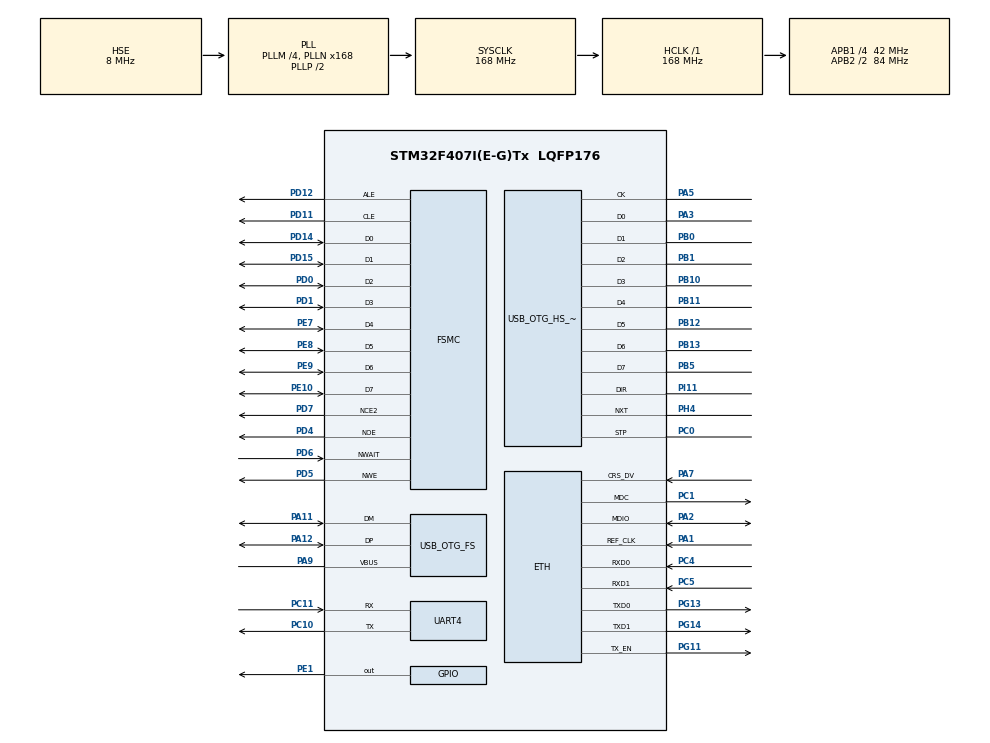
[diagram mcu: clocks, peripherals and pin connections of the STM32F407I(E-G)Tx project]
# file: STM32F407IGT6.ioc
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ETH.MediaInterface=ETH_MEDIA_INTERFACE_RMII
LWIP.GATEWAY_ADDRESS=192.168.001.004
LWIP.IP_ADDRESS=192.168.001.014
LWIP.LWIP_DHCP=1
LWIP.LWIP_DNS=1
LWIP.LWIP_ICMP=1
LWIP.LWIP_TCP=1
LWIP.MEMP_NUM_TCP_PCB=4
LWIP.MEMP_NUM_UDP_PCB=4
LWIP.NETMASK_ADDRESS=255.255.255.000
LWIP.Version=v2.0.3_Cube
Mcu.Family=STM32F4
Mcu.Name=STM32F407I(E-G)Tx
Mcu.Package=LQFP176
NVIC.OTG_FS_IRQn=true\:0\:0\:false\:false\:true\:false\:true
NVIC.OTG_HS_IRQn=true\:0\:0\:false\:false\:true\:false\:true
NVIC.PriorityGroup=NVIC_PRIORITYGROUP_4
PA1.Mode=RMII
PA1.Signal=ETH_REF_CLK
PA11.Mode=Device_Only
PA11.Signal=USB_OTG_FS_DM
PA12.Mode=Device_Only
PA12.Signal=USB_OTG_FS_DP
PA13.Mode=JTAG_4_pins
PA13.Signal=SYS_JTMS-SWDIO
PA14.Mode=JTAG_4_pins
PA14.Signal=SYS_JTCK-SWCLK
PA15.Mode=JTAG_4_pins
PA15.Signal=SYS_JTDI
PA2.Mode=RMII
PA2.Signal=ETH_MDIO
PA3.Mode=Host_HS
PA3.Signal=USB_OTG_HS_ULPI_D0
PA5.Mode=Host_HS
PA5.Signal=USB_OTG_HS_ULPI_CK
PA7.Mode=RMII
PA7.Signal=ETH_CRS_DV
PA9.Mode=Activate_VBUS
PA9.Signal=USB_OTG_FS_VBUS
PB0.Mode=Host_HS
PB0.Signal=USB_OTG_HS_ULPI_D1
PB1.Mode=Host_HS
PB1.Signal=USB_OTG_HS_ULPI_D2
PB10.Mode=Host_HS
PB10.Signal=USB_OTG_HS_ULPI_D3
PB11.Mode=Host_HS
PB11.Signal=USB_OTG_HS_ULPI_D4
PB12.Mode=Host_HS
PB12.Signal=USB_OTG_HS_ULPI_D5
PB13.Mode=Host_HS
PB13.Signal=USB_OTG_HS_ULPI_D6
PB3.Mode=JTAG_4_pins
PB3.Signal=SYS_JTDO-SWO
PB5.Mode=Host_HS
PB5.Signal=USB_OTG_HS_ULPI_D7
PC0.Mode=Host_HS
PC0.Signal=USB_OTG_HS_ULPI_STP
PC1.Mode=RMII
PC1.Signal=ETH_MDC
PC10.Mode=Asynchronous
PC10.Signal=UART4_TX
PC11.Mode=Asynchronous
PC11.Signal=UART4_RX
PC14-OSC32_IN.Mode=LSE-External-Oscillator
PC14-OSC32_IN.Signal=RCC_OSC32_IN
PC15-OSC32_OUT.Mode=LSE-External-Oscillator
PC15-OSC32_OUT.Signal=RCC_OSC32_OUT
PC4.Mode=RMII
PC4.Signal=ETH_RXD0
PC5.Mode=RMII
PC5.Signal=ETH_RXD1
PD0.Signal=FSMC_D2_DA2
PD1.Signal=FSMC_D3_DA3
PD11.Signal=FSMC_A16_CLE
PD12.Signal=FSMC_A17_ALE
PD14.Signal=FSMC_D0_DA0
PD15.Signal=FSMC_D1_DA1
PD4.Signal=FSMC_NOE
PD5.Signal=FSMC_NWE
PD6.Signal=FSMC_NWAIT
PD7.Mode=NandChipSelect2_1
PD7.Signal=FSMC_NCE2
PE1.Signal=GPIO_Output
PE10.Signal=FSMC_D7_DA7
PE7.Signal=FSMC_D4_DA4
PE8.Signal=FSMC_D5_DA5
PE9.Signal=FSMC_D6_DA6
PG11.Mode=RMII
PG11.Signal=ETH_TX_EN
PG13.Mode=RMII
PG13.Signal=ETH_TXD0
PG14.Mode=RMII
PG14.Signal=ETH_TXD1
PH0-OSC_IN.Mode=HSE-External-Oscillator
PH0-OSC_IN.Signal=RCC_OSC_IN
PH1-OSC_OUT.Mode=HSE-External-Oscillator
PH1-OSC_OUT.Signal=RCC_OSC_OUT
PH4.Mode=Host_HS
PH4.Signal=USB_OTG_HS_ULPI_NXT
PI11.Mode=Host_HS
PI11.Signal=USB_OTG_HS_ULPI_DIR
ProjectManager.HeapSize=0x200
ProjectManager.StackSize=0x400
ProjectManager.TargetToolchain=STM32CubeIDE
RCC.48MHZClocksFreq_Value=48000000
RCC.AHBFreq_Value=168000000
RCC.APB1CLKDivider=RCC_HCLK_DIV4
RCC.APB1Freq_Value=42000000
RCC.APB1TimFreq_Value=84000000
RCC.APB2CLKDivider=RCC_HCLK_DIV2
RCC.APB2Freq_Value=84000000
RCC.APB2TimFreq_Value=168000000
RCC.CortexFreq_Value=168000000
RCC.HCLKFreq_Value=168000000
RCC.HSE_VALUE=8000000
RCC.HSI_VALUE=16000000
RCC.PLLM=4
RCC.PLLN=168
RCC.PLLQ=7
RCC.RCC_RTC_Clock_Source=RCC_RTCCLKSOURCE_LSE
RCC.RCC_RTC_Clock_SourceVirtual=RCC_RTCCLKSOURCE_LSE
RCC.SYSCLKFreq_VALUE=168000000
RCC.SYSCLKSource=RCC_SYSCLKSOURCE_PLLCLK
RCC.VCOOutputFreq_Value=336000000
SH.FSMC_A16_CLE.0=FSMC_CLE,8b-dmux1
SH.FSMC_A17_ALE.0=FSMC_ALE,8b-dmux1
SH.FSMC_D0_DA0.0=FSMC_D0,8b-dmux1
SH.FSMC_D1_DA1.0=FSMC_D1,8b-dmux1
SH.FSMC_D2_DA2.0=FSMC_D2,8b-dmux1
SH.FSMC_D3_DA3.0=FSMC_D3,8b-dmux1
SH.FSMC_D4_DA4.0=FSMC_D4,8b-dmux1
SH.FSMC_D5_DA5.0=FSMC_D5,8b-dmux1
SH.FSMC_D6_DA6.0=FSMC_D6,8b-dmux1
SH.FSMC_D7_DA7.0=FSMC_D7,8b-dmux1
SH.FSMC_NOE.0=FSMC_NOE,8b-dmux1
SH.FSMC_NWAIT.0=FSMC_NWAIT,Wait1
SH.FSMC_NWE.0=FSMC_NWE,8b-dmux1
UART4.VirtualMode=Asynchronous
USB_DEVICE.CLASS_NAME_FS=CDC
USB_DEVICE.VirtualMode-CDC_FS=Cdc
USB_DEVICE.VirtualModeFS=Cdc_FS
USB_HOST.USBH_HandleTypeDef-MSC_HS=hUsbHostHS
USB_HOST.VirtualModeHS=Msc
USB_OTG_FS.VirtualMode=Device_Only
USB_OTG_HS.Sof_enable-Host_HS=ENABLE
USB_OTG_HS.VirtualMode-Host_HS=Host_HS
USB_OTG_HS.dma_enable-Host_HS=ENABLE
USB_OTG_HS.speed-Host_HS=HCD_SPEED_HIGH
USB_OTG_HS.use_external_vbus=ENABLE
VP_FATFS_VS_USB.Mode=USB
VP_LWIP_VS_Enabled.Mode=Enabled
VP_RNG_VS_RNG.Mode=RNG_Activate
VP_RTC_VS_RTC_Activate.Mode=RTC_Enabled
VP_RTC_VS_RTC_Calendar.Mode=RTC_Calendar
VP_USB_DEVICE_VS_USB_DEVICE_CDC_FS.Mode=CDC_FS
VP_USB_HOST_VS_USB_HOST_MSC_HS.Mode=MSC_HS
board=custom

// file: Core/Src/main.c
/* USER CODE BEGIN Header */
/**
  ******************************************************************************
  * @file           : main.c
  * @brief          : Main program body
  ******************************************************************************
  * @attention
  *
  * <h2><center>&copy; Copyright (c) 2019 STMicroelectronics.
  * All rights reserved.</center></h2>
  *
  * This software component is licensed by ST under BSD 3-Clause license,
  * the "License"; You may not use this file except in compliance with the
  * License. You may obtain a copy of the License at:
  *                        opensource.org/licenses/BSD-3-Clause
  *
  ******************************************************************************
  */
/* USER CODE END Header */

#include "main.h"
#include "fatfs.h"
#include "lwip.h"
#include "usb_device.h"
#include "usb_host.h"

/* USER CODE BEGIN Includes */

#include "usbd_cdc_if.h"

/* USER CODE END Includes */

RNG_HandleTypeDef hrng;

RTC_HandleTypeDef hrtc;

UART_HandleTypeDef huart4;

NAND_HandleTypeDef hnand1;

void SystemClock_Config(void);
static void MX_GPIO_Init(void);
static void MX_FSMC_Init(void);
static void MX_RNG_Init(void);
static void MX_RTC_Init(void);
static void MX_UART4_Init(void);
void MX_USB_HOST_Process(void);

int main(void)
{
  /* USER CODE BEGIN 1 */
	typedef union {
		struct{
			uint32_t counter;
			uint32_t random32bit;
		} s;
		uint8_t buf[8];
	} rnd32_t;

	rnd32_t u;

  /* USER CODE END 1 */

  /* MCU Configuration--------------------------------------------------------*/

  /* Reset of all peripherals, Initializes the Flash interface and the Systick. */
  HAL_Init();

  /* Configure the system clock */
  SystemClock_Config();

  /* Initialize all configured peripherals */
  MX_GPIO_Init();
  MX_FSMC_Init();
  MX_RNG_Init();
  MX_RTC_Init();
  MX_FATFS_Init();
  MX_LWIP_Init();
  MX_USB_DEVICE_Init();
  MX_USB_HOST_Init();
  MX_UART4_Init();

  /* Infinite loop */
  /* USER CODE BEGIN WHILE */
  u.s.counter=0;
  while (1)
  {
	  HAL_GPIO_TogglePin(GPIOE, GPIO_PIN_1); // LED
	  HAL_Delay(250);

	  //HAL_ETH_TransmitFrame(heth, FrameLength);
	  //udp_connect(pcb, ipaddr, port);

	  //HAL_RNG_GenerateRandomNumber(&hrng, &u.random32bit);
	  //u.random32bit = HAL_RNG_GetRandomNumber(&hrng);
	  if (HAL_RNG_GenerateRandomNumber(&hrng, &u.s.random32bit) == HAL_OK)
	  {
		  u.s.counter++;
		  HAL_UART_Transmit(&huart4, u.buf, 8, 100);
		  // CDC_Transmit_FS(u.buf, 8);
	  }

    /* USER CODE END WHILE */
    MX_USB_HOST_Process();

  }
}

void SystemClock_Config(void)
{
  RCC_OscInitTypeDef RCC_OscInitStruct = {0};
  RCC_ClkInitTypeDef RCC_ClkInitStruct = {0};
  RCC_PeriphCLKInitTypeDef PeriphClkInitStruct = {0};

  /** Configure the main internal regulator output voltage
  */
  __HAL_RCC_PWR_CLK_ENABLE();
  __HAL_PWR_VOLTAGESCALING_CONFIG(PWR_REGULATOR_VOLTAGE_SCALE1);
  /** Initializes the CPU, AHB and APB busses clocks
  */
  RCC_OscInitStruct.OscillatorType = RCC_OSCILLATORTYPE_HSE|RCC_OSCILLATORTYPE_LSE;
  RCC_OscInitStruct.HSEState = RCC_HSE_ON;
  RCC_OscInitStruct.LSEState = RCC_LSE_ON;
  RCC_OscInitStruct.PLL.PLLState = RCC_PLL_ON;
  RCC_OscInitStruct.PLL.PLLSource = RCC_PLLSOURCE_HSE;
  RCC_OscInitStruct.PLL.PLLM = 4;
  RCC_OscInitStruct.PLL.PLLN = 168;
  RCC_OscInitStruct.PLL.PLLP = RCC_PLLP_DIV2;
  RCC_OscInitStruct.PLL.PLLQ = 7;
  if (HAL_RCC_OscConfig(&RCC_OscInitStruct) != HAL_OK)
  {
    Error_Handler();
  }
  /** Initializes the CPU, AHB and APB busses clocks
  */
  RCC_ClkInitStruct.ClockType = RCC_CLOCKTYPE_HCLK|RCC_CLOCKTYPE_SYSCLK
                              |RCC_CLOCKTYPE_PCLK1|RCC_CLOCKTYPE_PCLK2;
  RCC_ClkInitStruct.SYSCLKSource = RCC_SYSCLKSOURCE_PLLCLK;
  RCC_ClkInitStruct.AHBCLKDivider = RCC_SYSCLK_DIV1;
  RCC_ClkInitStruct.APB1CLKDivider = RCC_HCLK_DIV4;
  RCC_ClkInitStruct.APB2CLKDivider = RCC_HCLK_DIV2;

  if (HAL_RCC_ClockConfig(&RCC_ClkInitStruct, FLASH_LATENCY_5) != HAL_OK)
  {
    Error_Handler();
  }
  PeriphClkInitStruct.PeriphClockSelection = RCC_PERIPHCLK_RTC;
  PeriphClkInitStruct.RTCClockSelection = RCC_RTCCLKSOURCE_LSE;
  if (HAL_RCCEx_PeriphCLKConfig(&PeriphClkInitStruct) != HAL_OK)
  {
    Error_Handler();
  }
}

static void MX_RNG_Init(void)
{

  hrng.Instance = RNG;
  if (HAL_RNG_Init(&hrng) != HAL_OK)
  {
    Error_Handler();
  }

}

static void MX_RTC_Init(void)
{

  RTC_TimeTypeDef sTime = {0};
  RTC_DateTypeDef sDate = {0};

  /** Initialize RTC Only
  */
  hrtc.Instance = RTC;
  hrtc.Init.HourFormat = RTC_HOURFORMAT_24;
  hrtc.Init.AsynchPrediv = 127;
  hrtc.Init.SynchPrediv = 255;
  hrtc.Init.OutPut = RTC_OUTPUT_DISABLE;
  hrtc.Init.OutPutPolarity = RTC_OUTPUT_POLARITY_HIGH;
  hrtc.Init.OutPutType = RTC_OUTPUT_TYPE_OPENDRAIN;
  if (HAL_RTC_Init(&hrtc) != HAL_OK)
  {
    Error_Handler();
  }

  /** Initialize RTC and set the Time and Date
  */
  sTime.Hours = 0x0;
  sTime.Minutes = 0x0;
  sTime.Seconds = 0x0;
  sTime.DayLightSaving = RTC_DAYLIGHTSAVING_NONE;
  sTime.StoreOperation = RTC_STOREOPERATION_RESET;
  if (HAL_RTC_SetTime(&hrtc, &sTime, RTC_FORMAT_BCD) != HAL_OK)
  {
    Error_Handler();
  }
  sDate.WeekDay = RTC_WEEKDAY_MONDAY;
  sDate.Month = RTC_MONTH_JANUARY;
  sDate.Date = 0x1;
  sDate.Year = 0x0;

  if (HAL_RTC_SetDate(&hrtc, &sDate, RTC_FORMAT_BCD) != HAL_OK)
  {
    Error_Handler();
  }

}

static void MX_UART4_Init(void)
{

  huart4.Instance = UART4;
  huart4.Init.BaudRate = 115200;
  huart4.Init.WordLength = UART_WORDLENGTH_8B;
  huart4.Init.StopBits = UART_STOPBITS_1;
  huart4.Init.Parity = UART_PARITY_NONE;
  huart4.Init.Mode = UART_MODE_TX_RX;
  huart4.Init.HwFlowCtl = UART_HWCONTROL_NONE;
  huart4.Init.OverSampling = UART_OVERSAMPLING_16;
  if (HAL_UART_Init(&huart4) != HAL_OK)
  {
    Error_Handler();
  }

}

static void MX_GPIO_Init(void)
{
  GPIO_InitTypeDef GPIO_InitStruct = {0};

  /* GPIO Ports Clock Enable */
  __HAL_RCC_GPIOC_CLK_ENABLE();
  __HAL_RCC_GPIOI_CLK_ENABLE();
  __HAL_RCC_GPIOH_CLK_ENABLE();
  __HAL_RCC_GPIOA_CLK_ENABLE();
  __HAL_RCC_GPIOB_CLK_ENABLE();
  __HAL_RCC_GPIOE_CLK_ENABLE();
  __HAL_RCC_GPIOD_CLK_ENABLE();
  __HAL_RCC_GPIOG_CLK_ENABLE();

  /*Configure GPIO pin Output Level */
  HAL_GPIO_WritePin(GPIOE, GPIO_PIN_1, GPIO_PIN_RESET);

  /*Configure GPIO pin : PE1 */
  GPIO_InitStruct.Pin = GPIO_PIN_1;
  GPIO_InitStruct.Mode = GPIO_MODE_OUTPUT_PP;
  GPIO_InitStruct.Pull = GPIO_NOPULL;
  GPIO_InitStruct.Speed = GPIO_SPEED_FREQ_LOW;
  HAL_GPIO_Init(GPIOE, &GPIO_InitStruct);

}

/* FSMC initialization function */
static void MX_FSMC_Init(void)
{

  FSMC_NAND_PCC_TimingTypeDef ComSpaceTiming = {0};
  FSMC_NAND_PCC_TimingTypeDef AttSpaceTiming = {0};

  /** Perform the NAND1 memory initialization sequence
  */
  hnand1.Instance = FSMC_NAND_DEVICE;
  /* hnand1.Init */
  hnand1.Init.NandBank = FSMC_NAND_BANK2;
  hnand1.Init.Waitfeature = FSMC_NAND_PCC_WAIT_FEATURE_ENABLE;
  hnand1.Init.MemoryDataWidth = FSMC_NAND_PCC_MEM_BUS_WIDTH_8;
  hnand1.Init.EccComputation = FSMC_NAND_ECC_DISABLE;
  hnand1.Init.ECCPageSize = FSMC_NAND_ECC_PAGE_SIZE_256BYTE;
  hnand1.Init.TCLRSetupTime = 0;
  hnand1.Init.TARSetupTime = 0;
  /* hnand1.Config */
  hnand1.Config.PageSize = 0;
  hnand1.Config.SpareAreaSize = 0;
  hnand1.Config.BlockSize = 0;
  hnand1.Config.BlockNbr = 0;
  hnand1.Config.PlaneNbr = 0;
  hnand1.Config.PlaneSize = 0;
  hnand1.Config.ExtraCommandEnable = DISABLE;
  /* ComSpaceTiming */
  ComSpaceTiming.SetupTime = 252;
  ComSpaceTiming.WaitSetupTime = 252;
  ComSpaceTiming.HoldSetupTime = 252;
  ComSpaceTiming.HiZSetupTime = 252;
  /* AttSpaceTiming */
  AttSpaceTiming.SetupTime = 252;
  AttSpaceTiming.WaitSetupTime = 252;
  AttSpaceTiming.HoldSetupTime = 252;
  AttSpaceTiming.HiZSetupTime = 252;

  if (HAL_NAND_Init(&hnand1, &ComSpaceTiming, &AttSpaceTiming) != HAL_OK)
  {
    Error_Handler( );
  }

}

void Error_Handler(void)
{
}

/************************ (C) COPYRIGHT STMicroelectronics *****END OF FILE****/
